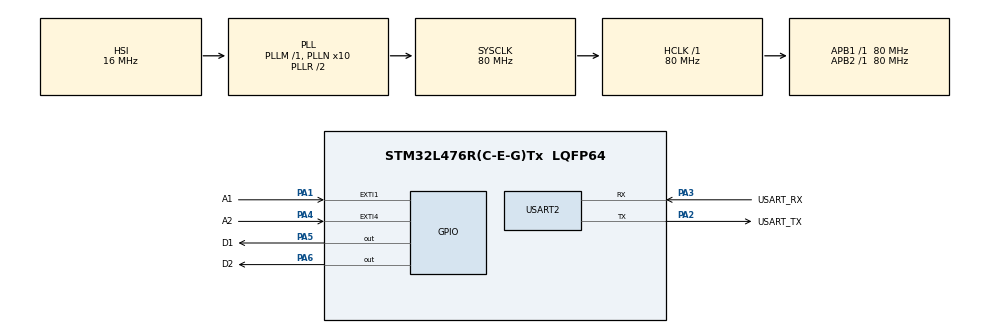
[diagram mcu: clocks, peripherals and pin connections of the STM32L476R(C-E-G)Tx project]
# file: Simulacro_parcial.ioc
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Mcu.Family=STM32L4
Mcu.Name=STM32L476R(C-E-G)Tx
Mcu.Package=LQFP64
NVIC.EXTI1_IRQn=true\:0\:0\:false\:false\:true\:true\:true\:true
NVIC.EXTI4_IRQn=true\:0\:0\:false\:false\:true\:true\:true\:true
NVIC.PriorityGroup=NVIC_PRIORITYGROUP_4
PA1.GPIO_Label=A1
PA1.Signal=GPXTI1
PA2.GPIO_Label=USART_TX
PA2.GPIO_Mode=GPIO_MODE_AF_PP
PA2.GPIO_PuPd=GPIO_NOPULL
PA2.GPIO_Speed=GPIO_SPEED_FREQ_VERY_HIGH
PA2.Mode=Asynchronous
PA2.Signal=USART2_TX
PA3.GPIO_Label=USART_RX
PA3.GPIO_Mode=GPIO_MODE_AF_PP
PA3.GPIO_PuPd=GPIO_NOPULL
PA3.GPIO_Speed=GPIO_SPEED_FREQ_VERY_HIGH
PA3.Mode=Asynchronous
PA3.Signal=USART2_RX
PA4.GPIO_Label=A2
PA4.Signal=GPXTI4
PA5.GPIO_Label=D1
PA5.Signal=GPIO_Output
PA6.GPIO_Label=D2
PA6.Signal=GPIO_Output
ProjectManager.HeapSize=0x200
ProjectManager.StackSize=0x400
ProjectManager.TargetToolchain=STM32CubeIDE
RCC.ADCFreq_Value=64000000
RCC.AHBFreq_Value=80000000
RCC.APB1Freq_Value=80000000
RCC.APB1TimFreq_Value=80000000
RCC.APB2Freq_Value=80000000
RCC.APB2TimFreq_Value=80000000
RCC.CortexFreq_Value=80000000
RCC.HCLKFreq_Value=80000000
RCC.HSE_VALUE=8000000
RCC.HSI_VALUE=16000000
RCC.MSI_VALUE=4000000
RCC.PLLN=10
RCC.PLLSourceVirtual=RCC_PLLSOURCE_HSI
RCC.PREFETCH_ENABLE=1
RCC.SYSCLKFreq_VALUE=80000000
RCC.SYSCLKSource=RCC_SYSCLKSOURCE_PLLCLK
RCC.USBFreq_Value=64000000
RCC.VCOOutputFreq_Value=160000000
USART2.VirtualMode-Asynchronous=VM_ASYNC
board=NUCLEO-L476RG

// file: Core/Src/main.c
/* USER CODE BEGIN Header */
/**
  ******************************************************************************
  * @file           : main.c
  * @brief          : Main program body
  ******************************************************************************
  * @attention
  *
  * Copyright (c) 2024 STMicroelectronics.
  * All rights reserved.
  *
  * This software is licensed under terms that can be found in the LICENSE file
  * in the root directory of this software component.
  * If no LICENSE file comes with this software, it is provided AS-IS.
  *
  ******************************************************************************
  */
/* USER CODE END Header */
#include "main.h"

UART_HandleTypeDef huart2;
uint8_t index_pines = 0;
uint8_t counter_right = 0;
uint8_t counter_left = 0;

void SystemClock_Config(void);
static void MX_GPIO_Init(void);
static void MX_USART2_UART_Init(void);
/* USER CODE BEGIN PFP */
void HAL_GPIO_EXTI_Callback(uint16_t GPIO_Pin)
{
  /* Prevent unused argument(s) compilation warning */
  UNUSED(GPIO_Pin);

  uint8_t index_btn;						// índice del botón preionado

  // Para identificar el botón presionado:
  if(GPIO_Pin == A1_Pin){
	  index_btn = 1;
	  index_pines = 1;
	  HAL_UART_Transmit(&huart2, "Luz izquierda\r\n",15,10);
	  counter_left = 6;
  }else if(GPIO_Pin == A2_Pin){
	  index_btn = 2;
	  index_pines = 2;
	  HAL_UART_Transmit(&huart2, "Luz derecha\r\n",13,10);
	   counter_right = 6;
  }
}
/* USER CODE END PFP */

/* USER CODE BEGIN 0 */

/*void blinking(GPIO_PORT, NAME_PIN)
{
	HAL_GPIO_WritePin(GPIO_PORT, NAME_PIN, GPIO_PIN_RESET);
	HAL_Delay(500);
	HAL_GPIO_WritePin(GPIO_PORT, NAME_PIN, GPIO_PIN_SET);
	HAL_Delay(500);
	HAL_GPIO_WritePin(GPIO_PORT, NAME_PIN, GPIO_PIN_SET);
	HAL_Delay(500);
	HAL_GPIO_WritePin(GPIO_PORT, NAME_PIN, GPIO_PIN_RESET);
	HAL_Delay(500);
}*/

void turnsignalleft(void){
  	static uint32_t turntoggle_tick = 0; //static es para hacer una variable local
  	if (turntoggle_tick < HAL_GetTick() && counter_left > 0){
  		turntoggle_tick = HAL_GetTick()+500; //averiguar el tiempo para las luces del carro
  		HAL_GPIO_TogglePin(D1_GPIO_Port, D1_Pin);
  		counter_left--;
  	}
  }

  void turnsignalright(void){
  	static uint32_t turntoggle_tick = 0; //static es para hacer una variable local
  	if (turntoggle_tick < HAL_GetTick() && counter_right > 0){
  		turntoggle_tick = HAL_GetTick()+500; //averiguar el tiempo para las luces del carro
  		HAL_GPIO_TogglePin(D2_GPIO_Port, D2_Pin);
  		counter_right--;
  	}
  }
/* USER CODE END 0 */

int main(void)
{

  /* MCU Configuration--------------------------------------------------------*/

  /* Reset of all peripherals, Initializes the Flash interface and the Systick. */
  HAL_Init();

  /* Configure the system clock */
  SystemClock_Config();

  /* Initialize all configured peripherals */
  MX_GPIO_Init();
  MX_USART2_UART_Init();

  /* Infinite loop */
  while (1)
  {
	  if(index_pines == 1){
		turnsignalleft();
	 	//blinking(D1_GPIO_Port, D1_Pin);
	 	  }
	  if(index_pines == 2){
		 turnsignalright();
		//blinking(D2_GPIO_Port, D2_Pin);
	  }
  }
}

void SystemClock_Config(void)
{
  RCC_OscInitTypeDef RCC_OscInitStruct = {0};
  RCC_ClkInitTypeDef RCC_ClkInitStruct = {0};

  /** Configure the main internal regulator output voltage
  */
  if (HAL_PWREx_ControlVoltageScaling(PWR_REGULATOR_VOLTAGE_SCALE1) != HAL_OK)
  {
    Error_Handler();
  }

  /** Initializes the RCC Oscillators according to the specified parameters
  * in the RCC_OscInitTypeDef structure.
  */
  RCC_OscInitStruct.OscillatorType = RCC_OSCILLATORTYPE_HSI;
  RCC_OscInitStruct.HSIState = RCC_HSI_ON;
  RCC_OscInitStruct.HSICalibrationValue = RCC_HSICALIBRATION_DEFAULT;
  RCC_OscInitStruct.PLL.PLLState = RCC_PLL_ON;
  RCC_OscInitStruct.PLL.PLLSource = RCC_PLLSOURCE_HSI;
  RCC_OscInitStruct.PLL.PLLM = 1;
  RCC_OscInitStruct.PLL.PLLN = 10;
  RCC_OscInitStruct.PLL.PLLP = RCC_PLLP_DIV7;
  RCC_OscInitStruct.PLL.PLLQ = RCC_PLLQ_DIV2;
  RCC_OscInitStruct.PLL.PLLR = RCC_PLLR_DIV2;
  if (HAL_RCC_OscConfig(&RCC_OscInitStruct) != HAL_OK)
  {
    Error_Handler();
  }

  /** Initializes the CPU, AHB and APB buses clocks
  */
  RCC_ClkInitStruct.ClockType = RCC_CLOCKTYPE_HCLK|RCC_CLOCKTYPE_SYSCLK
                              |RCC_CLOCKTYPE_PCLK1|RCC_CLOCKTYPE_PCLK2;
  RCC_ClkInitStruct.SYSCLKSource = RCC_SYSCLKSOURCE_PLLCLK;
  RCC_ClkInitStruct.AHBCLKDivider = RCC_SYSCLK_DIV1;
  RCC_ClkInitStruct.APB1CLKDivider = RCC_HCLK_DIV1;
  RCC_ClkInitStruct.APB2CLKDivider = RCC_HCLK_DIV1;

  if (HAL_RCC_ClockConfig(&RCC_ClkInitStruct, FLASH_LATENCY_4) != HAL_OK)
  {
    Error_Handler();
  }
}

static void MX_USART2_UART_Init(void)
{

  huart2.Instance = USART2;
  huart2.Init.BaudRate = 115200;
  huart2.Init.WordLength = UART_WORDLENGTH_8B;
  huart2.Init.StopBits = UART_STOPBITS_1;
  huart2.Init.Parity = UART_PARITY_NONE;
  huart2.Init.Mode = UART_MODE_TX_RX;
  huart2.Init.HwFlowCtl = UART_HWCONTROL_NONE;
  huart2.Init.OverSampling = UART_OVERSAMPLING_16;
  huart2.Init.OneBitSampling = UART_ONE_BIT_SAMPLE_DISABLE;
  huart2.AdvancedInit.AdvFeatureInit = UART_ADVFEATURE_NO_INIT;
  if (HAL_UART_Init(&huart2) != HAL_OK)
  {
    Error_Handler();
  }

}

static void MX_GPIO_Init(void)
{
  GPIO_InitTypeDef GPIO_InitStruct = {0};

  /* GPIO Ports Clock Enable */
  __HAL_RCC_GPIOA_CLK_ENABLE();

  /*Configure GPIO pin Output Level */
  HAL_GPIO_WritePin(GPIOA, D1_Pin|D2_Pin, GPIO_PIN_RESET);

  /*Configure GPIO pins : A1_Pin A2_Pin */
  GPIO_InitStruct.Pin = A1_Pin|A2_Pin;
  GPIO_InitStruct.Mode = GPIO_MODE_IT_RISING;
  GPIO_InitStruct.Pull = GPIO_NOPULL;
  HAL_GPIO_Init(GPIOA, &GPIO_InitStruct);

  /*Configure GPIO pins : D1_Pin D2_Pin */
  GPIO_InitStruct.Pin = D1_Pin|D2_Pin;
  GPIO_InitStruct.Mode = GPIO_MODE_OUTPUT_PP;
  GPIO_InitStruct.Pull = GPIO_NOPULL;
  GPIO_InitStruct.Speed = GPIO_SPEED_FREQ_LOW;
  HAL_GPIO_Init(GPIOA, &GPIO_InitStruct);

  /* EXTI interrupt init*/
  HAL_NVIC_SetPriority(EXTI1_IRQn, 0, 0);
  HAL_NVIC_EnableIRQ(EXTI1_IRQn);

  HAL_NVIC_SetPriority(EXTI4_IRQn, 0, 0);
  HAL_NVIC_EnableIRQ(EXTI4_IRQn);

}

void Error_Handler(void)
{
  __disable_irq();
  while (1)
  {
  }
}
